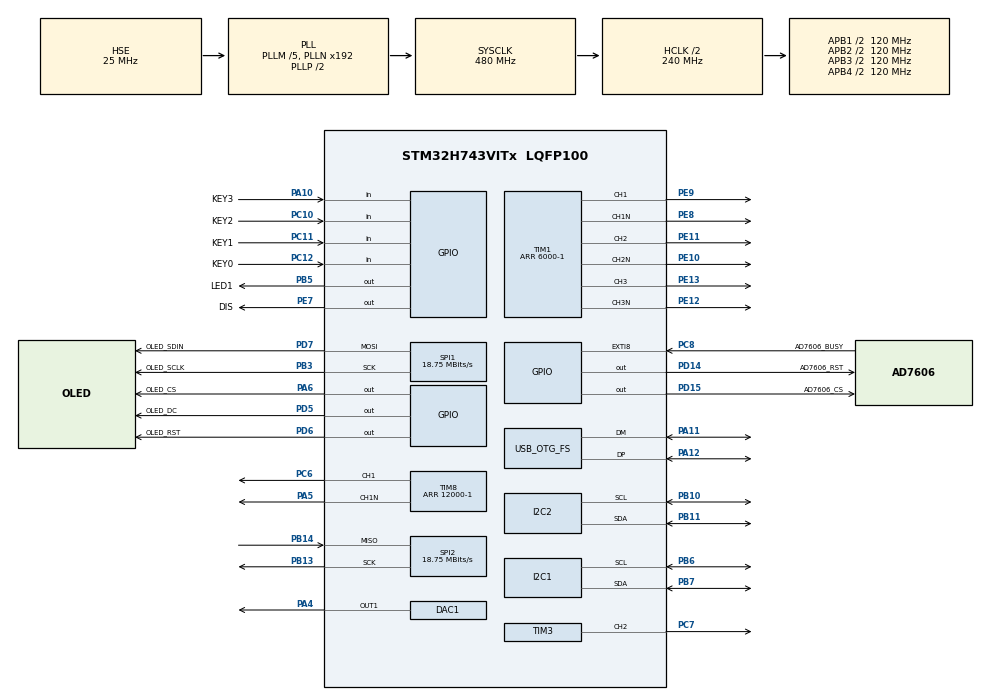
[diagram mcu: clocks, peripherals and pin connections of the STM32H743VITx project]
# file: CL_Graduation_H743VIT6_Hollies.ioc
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ADC3.Channel-0\#ChannelRegularConversion=ADC_CHANNEL_TEMPSENSOR
ADC3.ClockPrescalerADC3=ADC_CLOCK_ASYNC_DIV4
ADC3.NbrOfConversion=1
ADC3.NbrOfConversionFlag=1
ADC3.OffsetNumber-0\#ChannelRegularConversion=ADC_OFFSET_NONE
ADC3.OffsetSignedSaturation-0\#ChannelRegularConversion=DISABLE
ADC3.Overrun=ADC_OVR_DATA_OVERWRITTEN
ADC3.OversamplingMode=ENABLE
ADC3.Rank-0\#ChannelRegularConversion=1
ADC3.Ratio=16
ADC3.RightBitShift=ADC_RIGHTBITSHIFT_4
ADC3.SamplingTime-0\#ChannelRegularConversion=ADC_SAMPLETIME_810CYCLES_5
CORTEX_M7.AccessPermission_S-Cortex_Memory_Protection_Unit_Region1_Settings_S=MPU_REGION_FULL_ACCESS
CORTEX_M7.AccessPermission_Spec=MPU_REGION_FULL_ACCESS
CORTEX_M7.BaseAddress_S-Cortex_Memory_Protection_Unit_Region1_Settings_S=0x20000000
CORTEX_M7.BaseAddress_Spec=0x24000000
CORTEX_M7.CPU_DCache=Enabled
CORTEX_M7.CPU_ICache=Enabled
CORTEX_M7.DisableExec_Spec=MPU_INSTRUCTION_ACCESS_ENABLE
CORTEX_M7.Enable_S-Cortex_Memory_Protection_Unit_Region1_Settings_S=MPU_REGION_ENABLE
CORTEX_M7.IsBufferable_S-Cortex_Memory_Protection_Unit_Region1_Settings_S=MPU_ACCESS_BUFFERABLE
CORTEX_M7.IsBufferable_Spec=MPU_ACCESS_BUFFERABLE
CORTEX_M7.IsCacheable_S-Cortex_Memory_Protection_Unit_Region1_Settings_S=MPU_ACCESS_CACHEABLE
CORTEX_M7.IsCacheable_Spec=MPU_ACCESS_CACHEABLE
CORTEX_M7.IsShareable_S-Cortex_Memory_Protection_Unit_Region1_Settings_S=MPU_ACCESS_NOT_SHAREABLE
CORTEX_M7.IsShareable_Spec=MPU_ACCESS_NOT_SHAREABLE
CORTEX_M7.Size_S-Cortex_Memory_Protection_Unit_Region1_Settings_S=MPU_REGION_SIZE_128KB
CORTEX_M7.Size_Spec=MPU_REGION_SIZE_512KB
CORTEX_M7.SubRegionDisable_Spec=0x0
CORTEX_M7.TypeExtField_S-Cortex_Memory_Protection_Unit_Region1_Settings_S=MPU_TEX_LEVEL1
CORTEX_M7.TypeExtField_Spec=MPU_TEX_LEVEL1
CORTEX_M7.default_mode_Activation=1
DAC1.DAC_Channel-DAC_OUT1=DAC_CHANNEL_1
FREERTOS.Tasks01=defaultTask,24,128,StartDefaultTask,As weak,NULL,Dynamic,NULL,NULL;letterShellTask,23,1024,shellTask,As weak,&shell,Dynamic,NULL,NULL;chipTemperature,24,512,StartChipTemperatureTask,As weak,NULL,Dynamic,NULL,NULL;oledDisplayTask,24,512,StartOledDisplayTask,As weak,NULL,Dynamic,NULL,NULL;keyTask,24,256,StartKeyTask,As weak,NULL,Dynamic,NULL,NULL;dcSampingTask,40,256,StartDCSampingTask,As weak,NULL,Dynamic,NULL,NULL;medDCControl,40,256,StartMedDCControl,As weak,NULL,Dynamic,NULL,NULL;dcControlTask,40,256,StartDCControlTask,As weak,NULL,Dynamic,NULL,NULL
I2C1.Timing=0x307075B1
I2C2.Timing=0x307075B1
Mcu.Family=STM32H7
Mcu.Name=STM32H743VITx
Mcu.Package=LQFP100
NVIC.EXTI9_5_IRQn=true\:4\:0\:true\:false\:true\:false\:true\:true\:true
NVIC.OTG_FS_IRQn=true\:5\:0\:false\:false\:true\:true\:false\:true\:true
NVIC.PriorityGroup=NVIC_PRIORITYGROUP_4
NVIC.TIM2_IRQn=true\:5\:0\:true\:false\:true\:false\:true\:true\:true
NVIC.TIM6_DAC_IRQn=true\:15\:0\:false\:false\:true\:false\:false\:true\:true
NVIC.TimeBase=TIM6_DAC_IRQn
NVIC.TimeBaseIP=TIM6
PA10.GPIO_Label=KEY3
PA10.GPIO_PuPd=GPIO_PULLUP
PA10.Signal=GPIO_Input
PA11.Mode=Device_Only
PA11.Signal=USB_OTG_FS_DM
PA12.Mode=Device_Only
PA12.Signal=USB_OTG_FS_DP
PA13\ (JTMS/SWDIO).Mode=Serial_Wire
PA13\ (JTMS/SWDIO).Signal=DEBUG_JTMS-SWDIO
PA14\ (JTCK/SWCLK).Mode=Serial_Wire
PA14\ (JTCK/SWCLK).Signal=DEBUG_JTCK-SWCLK
PA4.Signal=COMP_DAC11_group
PA5.GPIO_Speed=GPIO_SPEED_FREQ_LOW
PA5.Mode=PWM Generation1 CH1 CH1N
PA5.Signal=TIM8_CH1N
PA6.GPIO_Label=OLED_CS
PA6.Signal=GPIO_Output
PB10.Mode=I2C
PB10.Signal=I2C2_SCL
PB11.Mode=I2C
PB11.Signal=I2C2_SDA
PB13.Mode=RX_Only_Simplex_Unidirect_Master
PB13.Signal=SPI2_SCK
PB14.Mode=RX_Only_Simplex_Unidirect_Master
PB14.Signal=SPI2_MISO
PB3\ (JTDO/TRACESWO).GPIO_Label=OLED_SCLK
PB3\ (JTDO/TRACESWO).Mode=TX_Only_Simplex_Unidirect_Master
PB3\ (JTDO/TRACESWO).Signal=SPI1_SCK
PB5.GPIO_Label=LED1
PB5.Signal=GPIO_Output
PB6.Mode=I2C
PB6.Signal=I2C1_SCL
PB7.Mode=I2C
PB7.Signal=I2C1_SDA
PC10.GPIO_Label=KEY2
PC10.GPIO_PuPd=GPIO_PULLUP
PC10.Signal=GPIO_Input
PC11.GPIO_Label=KEY1
PC11.GPIO_PuPd=GPIO_PULLUP
PC11.Signal=GPIO_Input
PC12.GPIO_Label=KEY0
PC12.GPIO_PuPd=GPIO_PULLUP
PC12.Signal=GPIO_Input
PC14-OSC32_IN\ (OSC32_IN).Mode=LSE-External-Oscillator
PC14-OSC32_IN\ (OSC32_IN).Signal=RCC_OSC32_IN
PC15-OSC32_OUT\ (OSC32_OUT).Mode=LSE-External-Oscillator
PC15-OSC32_OUT\ (OSC32_OUT).Signal=RCC_OSC32_OUT
PC6.GPIO_Speed=GPIO_SPEED_FREQ_LOW
PC6.Signal=S_TIM8_CH1
PC7.Signal=S_TIM3_CH2
PC8.GPIO_Label=AD7606_BUSY
PC8.GPIO_ModeDefaultEXTI=GPIO_MODE_IT_FALLING
PC8.GPIO_PuPd=GPIO_PULLUP
PC8.Signal=GPXTI8
PD14.GPIO_Label=AD7606_RST
PD14.Signal=GPIO_Output
PD15.GPIO_Label=AD7606_CS
PD15.Signal=GPIO_Output
PD5.GPIO_Label=OLED_DC
PD5.Signal=GPIO_Output
PD6.GPIO_Label=OLED_RST
PD6.Signal=GPIO_Output
PD7.GPIO_Label=OLED_SDIN
PD7.Mode=TX_Only_Simplex_Unidirect_Master
PD7.Signal=SPI1_MOSI
PE10.GPIO_Speed=GPIO_SPEED_FREQ_LOW
PE10.Mode=PWM Generation2 CH2 CH2N
PE10.Signal=TIM1_CH2N
PE11.GPIO_Speed=GPIO_SPEED_FREQ_LOW
PE11.Signal=S_TIM1_CH2
PE12.GPIO_Speed=GPIO_SPEED_FREQ_LOW
PE12.Mode=PWM Generation3 CH3 CH3N
PE12.Signal=TIM1_CH3N
PE13.GPIO_Speed=GPIO_SPEED_FREQ_LOW
PE13.Signal=S_TIM1_CH3
PE7.GPIO_Label=DIS
PE7.GPIO_PuPd=GPIO_PULLUP
PE7.Signal=GPIO_Output
PE8.GPIO_Speed=GPIO_SPEED_FREQ_LOW
PE8.Mode=PWM Generation1 CH1 CH1N
PE8.Signal=TIM1_CH1N
PE9.GPIO_Speed=GPIO_SPEED_FREQ_LOW
PE9.Signal=S_TIM1_CH1
PH0-OSC_IN\ (PH0).Mode=HSE-External-Oscillator
PH0-OSC_IN\ (PH0).Signal=RCC_OSC_IN
PH1-OSC_OUT\ (PH1).Mode=HSE-External-Oscillator
PH1-OSC_OUT\ (PH1).Signal=RCC_OSC_OUT
ProjectManager.HeapSize=0x2000
ProjectManager.StackSize=0x4000
ProjectManager.TargetToolchain=CMake
RCC.ADCFreq_Value=72000000
RCC.APB1Freq_Value=120000000
RCC.APB2Freq_Value=120000000
RCC.APB3Freq_Value=120000000
RCC.APB4Freq_Value=120000000
RCC.CortexFreq_Value=480000000
RCC.D1PPRE=RCC_APB3_DIV2
RCC.D2PPRE1=RCC_APB1_DIV2
RCC.D2PPRE2=RCC_APB2_DIV2
RCC.D3PPRE=RCC_APB4_DIV2
RCC.DIVM1=5
RCC.DIVM2=25
RCC.DIVM3=25
RCC.DIVN1=192
RCC.DIVN2=504
RCC.DIVN3=300
RCC.DIVP2=7
RCC.DIVQ1=20
RCC.HCLKFreq_Value=240000000
RCC.HPRE=RCC_HCLK_DIV2
RCC.PLLSourceVirtual=RCC_PLLSOURCE_HSE
RCC.PWR_Regulator_Voltage_Scale=PWR_REGULATOR_VOLTAGE_SCALE0
RCC.RCC_TIM_PRescaler_Selection=RCC_TIMPRES_DESACTIVATED
RCC.SPI123CLockSelection=RCC_SPI123CLKSOURCE_PLL3
RCC.SYSCLKFreq_VALUE=480000000
RCC.SYSCLKSource=RCC_SYSCLKSOURCE_PLLCLK
RCC.USBFreq_Value=48000000
SH.COMP_DAC11_group.0=DAC1_OUT1,DAC_OUT1
SH.S_TIM1_CH1.0=TIM1_CH1,PWM Generation1 CH1 CH1N
SH.S_TIM1_CH2.0=TIM1_CH2,PWM Generation2 CH2 CH2N
SH.S_TIM1_CH3.0=TIM1_CH3,PWM Generation3 CH3 CH3N
SH.S_TIM3_CH2.0=TIM3_CH2,PWM Generation2 CH2
SH.S_TIM8_CH1.0=TIM8_CH1,PWM Generation1 CH1 CH1N
SPI1.BaudRatePrescaler=SPI_BAUDRATEPRESCALER_8
SPI1.CalculateBaudRate=18.75 MBits/s
SPI1.DataSize=SPI_DATASIZE_8BIT
SPI1.Direction=SPI_DIRECTION_2LINES_TXONLY
SPI1.Mode=SPI_MODE_MASTER
SPI1.VirtualType=VM_MASTER
SPI2.BaudRatePrescaler=SPI_BAUDRATEPRESCALER_8
SPI2.CLKPolarity=SPI_POLARITY_HIGH
SPI2.CalculateBaudRate=18.75 MBits/s
SPI2.DataSize=SPI_DATASIZE_16BIT
SPI2.Direction=SPI_DIRECTION_2LINES_RXONLY
SPI2.Mode=SPI_MODE_MASTER
SPI2.VirtualType=VM_MASTER
TIM1.Channel-PWM\ Generation1\ CH1\ CH1N=TIM_CHANNEL_1
TIM1.Channel-PWM\ Generation2\ CH2\ CH2N=TIM_CHANNEL_2
TIM1.Channel-PWM\ Generation3\ CH3\ CH3N=TIM_CHANNEL_3
TIM1.CounterMode=TIM_COUNTERMODE_CENTERALIGNED1
TIM1.DeadTime=0x30
TIM1.OCFastMode_PWM-PWM\ Generation1\ CH1\ CH1N=TIM_OCFAST_ENABLE
TIM1.OCFastMode_PWM-PWM\ Generation2\ CH2\ CH2N=TIM_OCFAST_ENABLE
TIM1.OCFastMode_PWM-PWM\ Generation3\ CH3\ CH3N=TIM_OCFAST_ENABLE
TIM1.Period=6000-1
TIM1.Pulse-PWM\ Generation1\ CH1\ CH1N=3000-1
TIM1.Pulse-PWM\ Generation2\ CH2\ CH2N=3000-1
TIM1.Pulse-PWM\ Generation3\ CH3\ CH3N=3000-1
TIM2.Period=2400000-1
TIM3.Channel-PWM\ Generation2\ CH2=TIM_CHANNEL_2
TIM3.Period=12000-1
TIM3.Pulse-PWM\ Generation2\ CH2=9000-1
TIM8.Channel-PWM\ Generation1\ CH1\ CH1N=TIM_CHANNEL_1
TIM8.DeadTime=0x30
TIM8.OCFastMode_PWM-PWM\ Generation1\ CH1\ CH1N=TIM_OCFAST_ENABLE
TIM8.Period=12000-1
USB_DEVICE.CLASS_NAME_FS=CDC
USB_DEVICE.VirtualMode-CDC_FS=Cdc
USB_DEVICE.VirtualModeFS=Cdc_FS
USB_OTG_FS.VirtualMode=Device_Only
VP_ADC3_TempSens_Input.Mode=IN-TempSens
VP_FREERTOS_VS_CMSIS_V2.Mode=CMSIS_V2
VP_MEMORYMAP_VS_MEMORYMAP.Mode=CurAppReg
VP_SYS_VS_tim6.Mode=TIM6
VP_TIM1_VS_ClockSourceINT.Mode=Internal
VP_TIM2_VS_ClockSourceINT.Mode=Internal
VP_TIM3_VS_ClockSourceINT.Mode=Internal
VP_TIM8_VS_ClockSourceINT.Mode=Internal
VP_USB_DEVICE_VS_USB_DEVICE_CDC_FS.Mode=CDC_FS
VP_VREFBUF_V_VREFBUF.Mode=ExternalMode
board=custom

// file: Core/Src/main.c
/* USER CODE BEGIN Header */
/**
 ******************************************************************************
 * @file           : main.c
 * @brief          : Main program body
 ******************************************************************************
 * @attention
 *
 * Copyright (c) 2025 STMicroelectronics.
 * All rights reserved.
 *
 * This software is licensed under terms that can be found in the LICENSE file
 * in the root directory of this software component.
 * If no LICENSE file comes with this software, it is provided AS-IS.
 *
 ******************************************************************************
 */
/* USER CODE END Header */
#include "main.h"
#include "cmsis_os.h"
#include "adc.h"
#include "dac.h"
#include "i2c.h"
#include "memorymap.h"
#include "spi.h"
#include "tim.h"
#include "usb_device.h"
#include "gpio.h"

void SystemClock_Config(void);
void PeriphCommonClock_Config(void);
static void MPU_Config(void);
void MX_FREERTOS_Init(void);

int main(void)
{

  /* MPU Configuration--------------------------------------------------------*/
  MPU_Config();

  /* Enable the CPU Cache */

  /* Enable I-Cache---------------------------------------------------------*/
  SCB_EnableICache();

  /* Enable D-Cache---------------------------------------------------------*/
  SCB_EnableDCache();

  /* MCU Configuration--------------------------------------------------------*/

  /* Reset of all peripherals, Initializes the Flash interface and the Systick. */
  HAL_Init();

  /* Configure the system clock */
  SystemClock_Config();

  /* Configure the peripherals common clocks */
  PeriphCommonClock_Config();

  /* Initialize all configured peripherals */
  MX_GPIO_Init();
  MX_ADC3_Init();
  MX_DAC1_Init();
  MX_I2C1_Init();
  MX_I2C2_Init();
  MX_SPI1_Init();
  MX_SPI2_Init();
  MX_TIM1_Init();
  MX_TIM8_Init();
  MX_TIM3_Init();
  MX_TIM2_Init();

  /* Init scheduler */
  osKernelInitialize();

  /* Call init function for freertos objects (in cmsis_os2.c) */
  MX_FREERTOS_Init();

  /* Start scheduler */
  osKernelStart();

  /* We should never get here as control is now taken by the scheduler */

  /* Infinite loop */
  while (1)
  {

  }
}

void SystemClock_Config(void)
{
  RCC_OscInitTypeDef RCC_OscInitStruct = {0};
  RCC_ClkInitTypeDef RCC_ClkInitStruct = {0};

  /** Supply configuration update enable
   */
  HAL_PWREx_ConfigSupply(PWR_LDO_SUPPLY);

  /** Configure the main internal regulator output voltage
   */
  __HAL_PWR_VOLTAGESCALING_CONFIG(PWR_REGULATOR_VOLTAGE_SCALE0);

  while (!__HAL_PWR_GET_FLAG(PWR_FLAG_VOSRDY))
  {
  }

  /** Initializes the RCC Oscillators according to the specified parameters
   * in the RCC_OscInitTypeDef structure.
   */
  RCC_OscInitStruct.OscillatorType = RCC_OSCILLATORTYPE_HSE;
  RCC_OscInitStruct.HSEState = RCC_HSE_ON;
  RCC_OscInitStruct.PLL.PLLState = RCC_PLL_ON;
  RCC_OscInitStruct.PLL.PLLSource = RCC_PLLSOURCE_HSE;
  RCC_OscInitStruct.PLL.PLLM = 5;
  RCC_OscInitStruct.PLL.PLLN = 192;
  RCC_OscInitStruct.PLL.PLLP = 2;
  RCC_OscInitStruct.PLL.PLLQ = 20;
  RCC_OscInitStruct.PLL.PLLR = 2;
  RCC_OscInitStruct.PLL.PLLRGE = RCC_PLL1VCIRANGE_2;
  RCC_OscInitStruct.PLL.PLLVCOSEL = RCC_PLL1VCOWIDE;
  RCC_OscInitStruct.PLL.PLLFRACN = 0;
  if (HAL_RCC_OscConfig(&RCC_OscInitStruct) != HAL_OK)
  {
    Error_Handler();
  }

  /** Initializes the CPU, AHB and APB buses clocks
   */
  RCC_ClkInitStruct.ClockType = RCC_CLOCKTYPE_HCLK | RCC_CLOCKTYPE_SYSCLK | RCC_CLOCKTYPE_PCLK1 | RCC_CLOCKTYPE_PCLK2 | RCC_CLOCKTYPE_D3PCLK1 | RCC_CLOCKTYPE_D1PCLK1;
  RCC_ClkInitStruct.SYSCLKSource = RCC_SYSCLKSOURCE_PLLCLK;
  RCC_ClkInitStruct.SYSCLKDivider = RCC_SYSCLK_DIV1;
  RCC_ClkInitStruct.AHBCLKDivider = RCC_HCLK_DIV2;
  RCC_ClkInitStruct.APB3CLKDivider = RCC_APB3_DIV2;
  RCC_ClkInitStruct.APB1CLKDivider = RCC_APB1_DIV2;
  RCC_ClkInitStruct.APB2CLKDivider = RCC_APB2_DIV2;
  RCC_ClkInitStruct.APB4CLKDivider = RCC_APB4_DIV2;

  if (HAL_RCC_ClockConfig(&RCC_ClkInitStruct, FLASH_LATENCY_4) != HAL_OK)
  {
    Error_Handler();
  }
}

void PeriphCommonClock_Config(void)
{
  RCC_PeriphCLKInitTypeDef PeriphClkInitStruct = {0};

  /** Initializes the peripherals clock
   */
  PeriphClkInitStruct.PeriphClockSelection = RCC_PERIPHCLK_SPI2 | RCC_PERIPHCLK_SPI1;
  PeriphClkInitStruct.PLL3.PLL3M = 25;
  PeriphClkInitStruct.PLL3.PLL3N = 300;
  PeriphClkInitStruct.PLL3.PLL3P = 2;
  PeriphClkInitStruct.PLL3.PLL3Q = 2;
  PeriphClkInitStruct.PLL3.PLL3R = 2;
  PeriphClkInitStruct.PLL3.PLL3RGE = RCC_PLL3VCIRANGE_0;
  PeriphClkInitStruct.PLL3.PLL3VCOSEL = RCC_PLL3VCOWIDE;
  PeriphClkInitStruct.PLL3.PLL3FRACN = 0;
  PeriphClkInitStruct.Spi123ClockSelection = RCC_SPI123CLKSOURCE_PLL3;
  if (HAL_RCCEx_PeriphCLKConfig(&PeriphClkInitStruct) != HAL_OK)
  {
    Error_Handler();
  }
}

/* MPU Configuration */

void MPU_Config(void)
{
  MPU_Region_InitTypeDef MPU_InitStruct = {0};

  /* Disables the MPU */
  HAL_MPU_Disable();

  /** Initializes and configures the Region and the memory to be protected
   */
  MPU_InitStruct.Enable = MPU_REGION_ENABLE;
  MPU_InitStruct.Number = MPU_REGION_NUMBER0;
  MPU_InitStruct.BaseAddress = 0x24000000;
  MPU_InitStruct.Size = MPU_REGION_SIZE_512KB;
  MPU_InitStruct.SubRegionDisable = 0x0;
  MPU_InitStruct.TypeExtField = MPU_TEX_LEVEL1;
  MPU_InitStruct.AccessPermission = MPU_REGION_FULL_ACCESS;
  MPU_InitStruct.DisableExec = MPU_INSTRUCTION_ACCESS_ENABLE;
  MPU_InitStruct.IsShareable = MPU_ACCESS_NOT_SHAREABLE;
  MPU_InitStruct.IsCacheable = MPU_ACCESS_CACHEABLE;
  MPU_InitStruct.IsBufferable = MPU_ACCESS_BUFFERABLE;

  HAL_MPU_ConfigRegion(&MPU_InitStruct);

  /** Initializes and configures the Region and the memory to be protected
   */
  MPU_InitStruct.Number = MPU_REGION_NUMBER1;
  MPU_InitStruct.BaseAddress = 0x20000000;
  MPU_InitStruct.Size = MPU_REGION_SIZE_128KB;

  HAL_MPU_ConfigRegion(&MPU_InitStruct);
  /* Enables the MPU */
  HAL_MPU_Enable(MPU_PRIVILEGED_DEFAULT);
}

void Error_Handler(void)
{
  __disable_irq();
  while (1)
  {
  }
}

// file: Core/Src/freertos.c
/* USER CODE BEGIN Header */
/**
 ******************************************************************************
 * File Name          : freertos.c
 * Description        : Code for freertos applications
 ******************************************************************************
 * @attention
 *
 * Copyright (c) 2025 STMicroelectronics.
 * All rights reserved.
 *
 * This software is licensed under terms that can be found in the LICENSE file
 * in the root directory of this software component.
 * If no LICENSE file comes with this software, it is provided AS-IS.
 *
 ******************************************************************************
 */
/* USER CODE END Header */

#include "FreeRTOS.h"
#include "task.h"
#include "main.h"
#include "cmsis_os.h"

/* USER CODE BEGIN Includes */
#include "user_task.h"
#include "shell.h"
#include "user_shell.h"
#include "ad7606.h"
#include "tim.h"
#include "three_phase_rectifier.h"
#include "user_global.h"
/* USER CODE END Includes */

/* Definitions for defaultTask */
osThreadId_t defaultTaskHandle;
const osThreadAttr_t defaultTask_attributes = {
  .name = "defaultTask",
  .stack_size = 128 * 4,
  .priority = (osPriority_t) osPriorityNormal,
};
/* Definitions for letterShellTask */
osThreadId_t letterShellTaskHandle;
const osThreadAttr_t letterShellTask_attributes = {
  .name = "letterShellTask",
  .stack_size = 1024 * 4,
  .priority = (osPriority_t) osPriorityBelowNormal7,
};
/* Definitions for chipTemperature */
osThreadId_t chipTemperatureHandle;
const osThreadAttr_t chipTemperature_attributes = {
  .name = "chipTemperature",
  .stack_size = 512 * 4,
  .priority = (osPriority_t) osPriorityNormal,
};
/* Definitions for oledDisplayTask */
osThreadId_t oledDisplayTaskHandle;
const osThreadAttr_t oledDisplayTask_attributes = {
  .name = "oledDisplayTask",
  .stack_size = 512 * 4,
  .priority = (osPriority_t) osPriorityNormal,
};
/* Definitions for keyTask */
osThreadId_t keyTaskHandle;
const osThreadAttr_t keyTask_attributes = {
  .name = "keyTask",
  .stack_size = 256 * 4,
  .priority = (osPriority_t) osPriorityNormal,
};
/* Definitions for dcSampingTask */
osThreadId_t dcSampingTaskHandle;
const osThreadAttr_t dcSampingTask_attributes = {
  .name = "dcSampingTask",
  .stack_size = 256 * 4,
  .priority = (osPriority_t) osPriorityHigh,
};
/* Definitions for medDCControl */
osThreadId_t medDCControlHandle;
const osThreadAttr_t medDCControl_attributes = {
  .name = "medDCControl",
  .stack_size = 256 * 4,
  .priority = (osPriority_t) osPriorityHigh,
};
/* Definitions for dcControlTask */
osThreadId_t dcControlTaskHandle;
const osThreadAttr_t dcControlTask_attributes = {
  .name = "dcControlTask",
  .stack_size = 256 * 4,
  .priority = (osPriority_t) osPriorityHigh,
};

void StartDefaultTask(void *argument);
void shellTask(void *argument);
void StartChipTemperatureTask(void *argument);
void StartOledDisplayTask(void *argument);
void StartKeyTask(void *argument);
void StartDCSampingTask(void *argument);
void StartMedDCControl(void *argument);
void StartDCControlTask(void *argument);

extern void MX_USB_DEVICE_Init(void);
void MX_FREERTOS_Init(void); /* (MISRA C 2004 rule 8.1) */

void MX_FREERTOS_Init(void) {
  /* USER CODE BEGIN Init */
  ad7606_Init();
  MX_USB_DEVICE_Init();
  userShellInit();
  three_Phase_Init_V(&signal_V, 50, 20000);
  three_Phase_Init_I(&signal_I, 50, 20000);
  single_Phase_Init_V(&signal_V_single, 50, 20000);
  single_Phase_Init_I(&signal_I_single, 50, 20000);
  ad7606_Start(&htim3, TIM_CHANNEL_2);
  /* USER CODE END Init */

  /* Create the thread(s) */
  /* creation of defaultTask */
  defaultTaskHandle = osThreadNew(StartDefaultTask, NULL, &defaultTask_attributes);

  /* creation of letterShellTask */
  letterShellTaskHandle = osThreadNew(shellTask, (void*) &shell, &letterShellTask_attributes);

  /* creation of chipTemperature */
  chipTemperatureHandle = osThreadNew(StartChipTemperatureTask, NULL, &chipTemperature_attributes);

  /* creation of oledDisplayTask */
  oledDisplayTaskHandle = osThreadNew(StartOledDisplayTask, NULL, &oledDisplayTask_attributes);

  /* creation of keyTask */
  keyTaskHandle = osThreadNew(StartKeyTask, NULL, &keyTask_attributes);

  /* creation of dcSampingTask */
  dcSampingTaskHandle = osThreadNew(StartDCSampingTask, NULL, &dcSampingTask_attributes);

  /* creation of medDCControl */
  medDCControlHandle = osThreadNew(StartMedDCControl, NULL, &medDCControl_attributes);

  /* creation of dcControlTask */
  dcControlTaskHandle = osThreadNew(StartDCControlTask, NULL, &dcControlTask_attributes);

}

__weak void StartDefaultTask(void *argument)
{
  /* init code for USB_DEVICE */
  MX_USB_DEVICE_Init();
  /* USER CODE BEGIN StartDefaultTask */
  UNUSED(argument);
  /* Infinite loop */
  for (;;)
  {
    osDelay(1);
  }
  /* USER CODE END StartDefaultTask */
}

__weak void shellTask(void *argument)
{
  /* USER CODE BEGIN shellTask */
  UNUSED(argument);
  /* Infinite loop */
  for (;;)
  {
    osDelay(1);
  }
  /* USER CODE END shellTask */
}

__weak void StartChipTemperatureTask(void *argument)
{
  /* USER CODE BEGIN StartChipTemperatureTask */
  UNUSED(argument);
  /* Infinite loop */
  for (;;)
  {
    osDelay(1);
  }
  /* USER CODE END StartChipTemperatureTask */
}

__weak void StartOledDisplayTask(void *argument)
{
  /* USER CODE BEGIN StartOledDisplayTask */
  UNUSED(argument);
  /* Infinite loop */
  for (;;)
  {
    osDelay(1);
  }
  /* USER CODE END StartOledDisplayTask */
}

__weak void StartKeyTask(void *argument)
{
  /* USER CODE BEGIN StartKeyTask */
  UNUSED(argument);
  /* Infinite loop */
  for (;;)
  {
    osDelay(1);
  }
  /* USER CODE END StartKeyTask */
}

__weak void StartDCSampingTask(void *argument)
{
  /* USER CODE BEGIN StartDCSampingTask */
  UNUSED(argument);
  /* Infinite loop */
  for (;;)
  {
    osDelay(1);
  }
  /* USER CODE END StartDCSampingTask */
}

__weak void StartMedDCControl(void *argument)
{
  /* USER CODE BEGIN StartMedDCControl */
  UNUSED(argument);
  /* Infinite loop */
  for (;;)
  {
    osDelay(1);
  }
  /* USER CODE END StartMedDCControl */
}

__weak void StartDCControlTask(void *argument)
{
  /* USER CODE BEGIN StartDCControlTask */
  UNUSED(argument);
  /* Infinite loop */
  for (;;)
  {
    osDelay(1);
  }
  /* USER CODE END StartDCControlTask */
}
